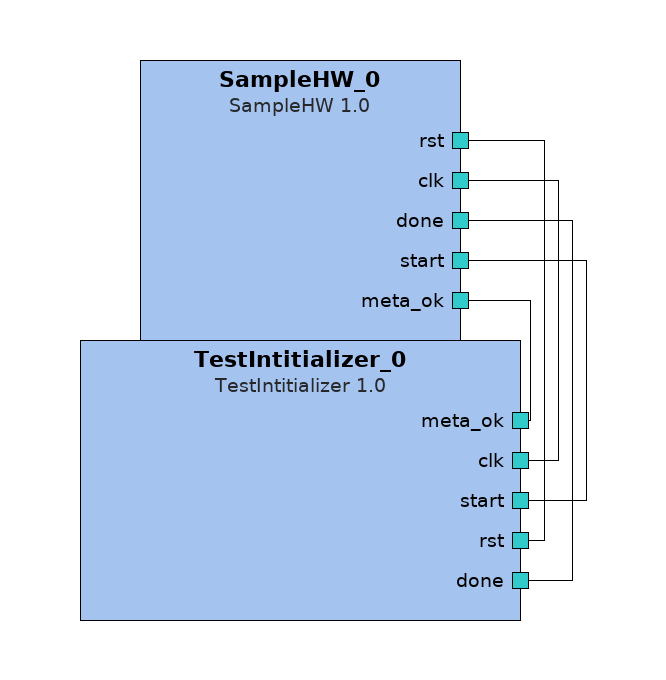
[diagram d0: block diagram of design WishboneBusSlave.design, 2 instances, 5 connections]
<?xml version="1.0" encoding="UTF-8"?>
<ipxact:design xmlns:xsi="http://www.w3.org/2001/XMLSchema-instance" xmlns:ipxact="http://www.accellera.org/XMLSchema/IPXACT/1685-2014" xmlns:kactus2="http://kactus2.cs.tut.fi" xsi:schemaLocation="http://www.accellera.org/XMLSchema/IPXACT/1685-2014/ http://www.accellera.org/XMLSchema/IPXACT/1685-2014/index.xsd"><ipxact:vendor>tut.fi</ipxact:vendor><ipxact:library>testBench</ipxact:library><ipxact:name>WishboneBusSlave.design</ipxact:name>
 <ipxact:version>1.0</ipxact:version><ipxact:componentInstances>
 <ipxact:componentInstance><ipxact:instanceName>SampleHW_0</ipxact:instanceName><ipxact:componentRef vendor="tut.fi" library="soc" name="SampleHW" version="1.0"/></ipxact:componentInstance>
 <ipxact:componentInstance><ipxact:instanceName>TestIntitializer_0</ipxact:instanceName><ipxact:componentRef vendor="tut.fi" library="ip.hw" name="TestIntitializer" version="1.0"><ipxact:configurableElementValues><ipxact:configurableElementValue referenceId="uuid_d3a6969c_8076_4ad3_9b17_763b80d83ec8">2100</ipxact:configurableElementValue></ipxact:configurableElementValues></ipxact:componentRef></ipxact:componentInstance>
</ipxact:componentInstances><ipxact:adHocConnections>
 <ipxact:adHocConnection><ipxact:name>SampleHW_0_rst_to_TestIntitializer_0_rst</ipxact:name><ipxact:portReferences><ipxact:internalPortReference componentRef="SampleHW_0" portRef="rst"/><ipxact:internalPortReference componentRef="TestIntitializer_0" portRef="rst"/></ipxact:portReferences></ipxact:adHocConnection>
 <ipxact:adHocConnection><ipxact:name>TestIntitializer_0_clk_to_SampleHW_0_clk</ipxact:name><ipxact:portReferences><ipxact:internalPortReference componentRef="TestIntitializer_0" portRef="clk"/><ipxact:internalPortReference componentRef="SampleHW_0" portRef="clk"/></ipxact:portReferences></ipxact:adHocConnection>
 <ipxact:adHocConnection><ipxact:name>SampleHW_0_done_to_TestIntitializer_0_done</ipxact:name><ipxact:portReferences><ipxact:internalPortReference componentRef="SampleHW_0" portRef="done"/><ipxact:internalPortReference componentRef="TestIntitializer_0" portRef="done"/></ipxact:portReferences></ipxact:adHocConnection>
 <ipxact:adHocConnection><ipxact:name>TestIntitializer_0_start_to_SampleHW_0_start</ipxact:name><ipxact:portReferences><ipxact:internalPortReference componentRef="TestIntitializer_0" portRef="start"/><ipxact:internalPortReference componentRef="SampleHW_0" portRef="start"/></ipxact:portReferences></ipxact:adHocConnection>
 <ipxact:adHocConnection><ipxact:name>SampleHW_0_meta_ok_to_TestIntitializer_0_meta_ok</ipxact:name><ipxact:portReferences><ipxact:internalPortReference componentRef="SampleHW_0" portRef="meta_ok"/><ipxact:internalPortReference componentRef="TestIntitializer_0" portRef="meta_ok"/></ipxact:portReferences></ipxact:adHocConnection>
</ipxact:adHocConnections></ipxact:design>

